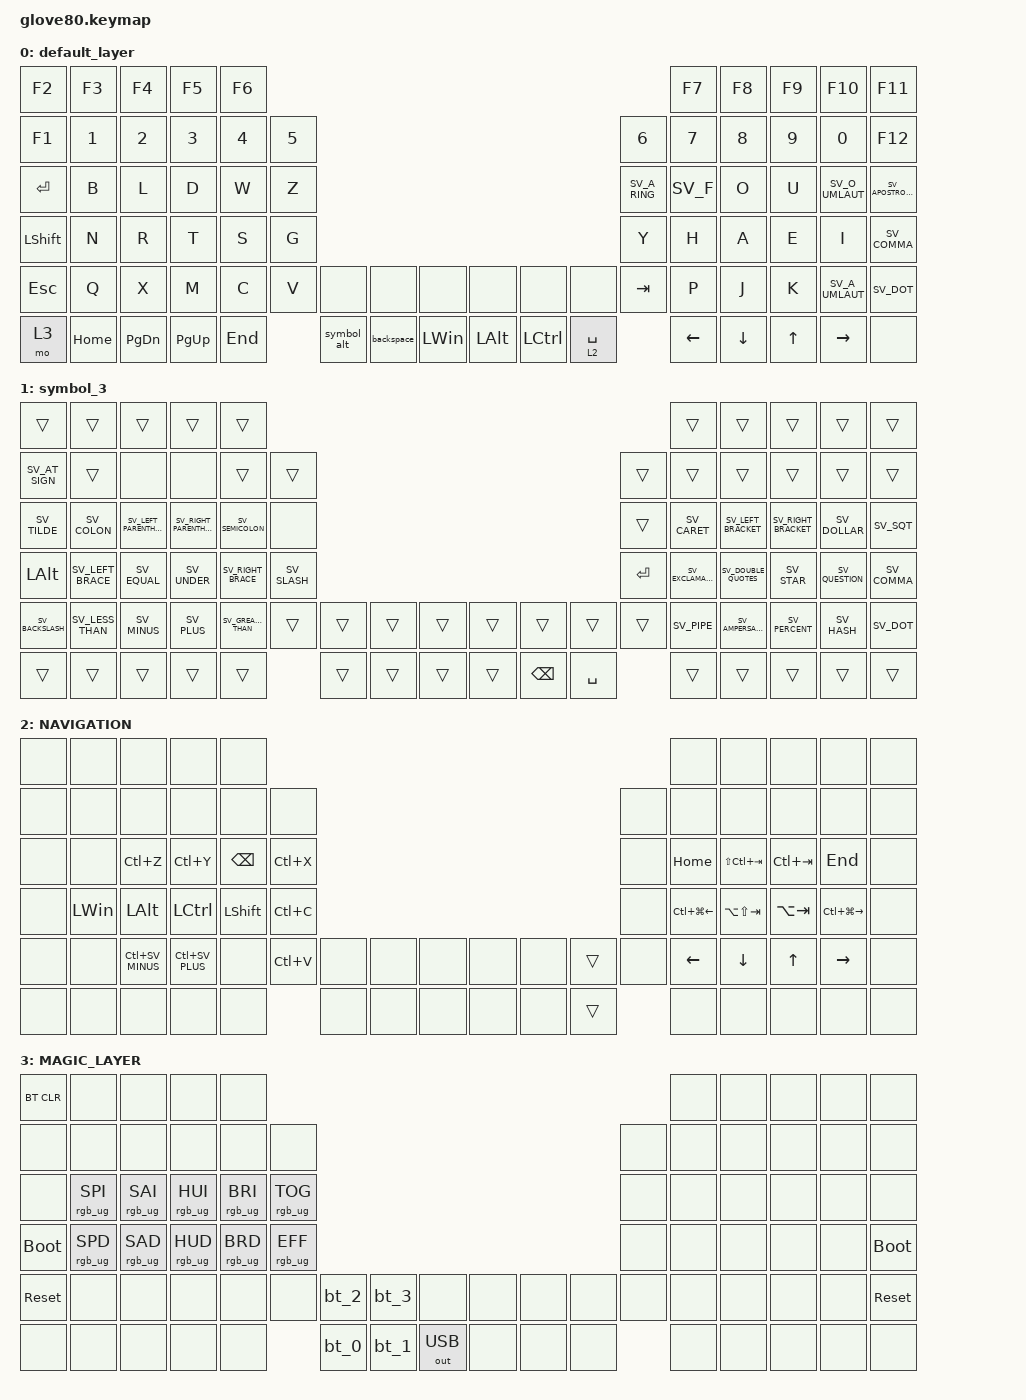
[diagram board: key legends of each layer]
/*
 * Copyright (c) 2020 The ZMK Contributors
 *
 * SPDX-License-Identifier: MIT
 */

#include "keys_sv.h"
#include <behaviors.dtsi>
#include <dt-bindings/zmk/bt.h>
#include <dt-bindings/zmk/keys.h>
#include <dt-bindings/zmk/outputs.h>
#include <dt-bindings/zmk/rgb.h>

// layers

#define DEFAULT 0
#define LOWER 1
#define MAGIC 2

&lt {
    tapping-term-ms = <280>;
    quick-tap-ms = <175>;
    require-prior-idle-ms = <150>;
    flavor = "balanced";
    hold-trigger-on-release;
};

/ {
    behaviors {
        // For the "layer" key, it'd nice to be able to use it as either a shift or a toggle.
        // Configure it as a tap dance, so the first tap (or hold) is a &mo and the second tap is a &to

        layer_td: tap_dance_0 {
            compatible = "zmk,behavior-tap-dance";
            #binding-cells = <0>;
            tapping-term-ms = <200>;
            bindings = <&mo 0>, <&to 0>;
        };

        ctrl_backspace: ctrl_backspace {
            compatible = "zmk,behavior-mod-morph";
            label = "CTRL_BACKSPACE";
            bindings = <&kp LC(BACKSPACE)>, <&kp BACKSPACE>;

            #binding-cells = <0>;
            mods = <(MOD_LSFT)>;
        };

        dot_sentence_end: dot_sentence_end {
            compatible = "zmk,behavior-mod-morph";
            label = "DOT_SENTENCE_END";
            bindings = <&kp SV_DOT>, <&sentence_end>;

            #binding-cells = <0>;
            mods = <(MOD_LSFT|MOD_LCTL)>;
        };

        backspace_nav: backspace_nav {
            compatible = "zmk,behavior-hold-tap";
            label = "BACKSPACE_NAV";
            bindings = <&mo>, <&ctrl_backspace>;

            #binding-cells = <2>;
            tapping-term-ms = <280>;
            hold-trigger-key-positions = <69>;
            flavor = "balanced";
            quick-tap-ms = <175>;
            require-prior-idle-ms = <150>;
            hold-trigger-on-release;
        };

        next_window_K: next_window_K {
            compatible = "zmk,behavior-mod-morph";
            label = "NEXT_WINDOW_K";
            bindings = <&kp K>, <&alt_tab>;

            #binding-cells = <0>;
            mods = <(MOD_LGUI)>;
        };

        previous_window_J: previous_window_J {
            compatible = "zmk,behavior-mod-morph";
            label = "PREVIOUS_WINDOW_J";
            bindings = <&kp J>, <&shift_alt_tab>;

            #binding-cells = <0>;
            mods = <(MOD_LGUI)>;
        };

        underscore_minus: underscore_minus {
            compatible = "zmk,behavior-mod-morph";
            label = "UNDERSCORE_MINUS";
            bindings = <&kp SV_UNDERSCORE>, <&kp SV_MINUS>;

            #binding-cells = <0>;
            mods = <(MOD_LSFT)>;
        };

        parenthesis_previous_tab: parenthesis_previous_tab {
            compatible = "zmk,behavior-mod-morph";
            label = "PARENTHESIS_PREVIOUS_TAB";
            bindings = <&kp LPAR>, <&previous_tab>;

            #binding-cells = <0>;
            mods = <(MOD_LSFT)>;
        };

        parenthesis_next_tab: parenthesis_next_tab {
            compatible = "zmk,behavior-mod-morph";
            label = "PARENTHESIS_NEXT_TAB";
            bindings = <&kp RPAR>, <&next_tab>;

            #binding-cells = <0>;
            mods = <(MOD_LSFT)>;
        };

        comma_exclemation: comma_exclemation {
            compatible = "zmk,behavior-mod-morph";
            label = "COMMA_EXCLEMATION";
            bindings = <&kp SV_COMMA>, <&kp SV_EXCLAMATION>;

            #binding-cells = <0>;
            mods = <(MOD_LSFT)>;
        };

        previous_window_bracket: previous_window_bracket {
            compatible = "zmk,behavior-mod-morph";
            label = "PREVIOUS_WINDOW_BRACKET";
            bindings = <&kp LEFT_BRACE>, <&previous_window_J>;

            #binding-cells = <0>;
            mods = <(MOD_LSFT)>;
        };

        left_paren_bracket: left_paren_bracket {
            compatible = "zmk,behavior-mod-morph";
            label = "LEFT_PAREN_BRACKET";
            bindings = <&kp SV_LPAR>, <&kp SV_LBKT>;

            #binding-cells = <0>;
            mods = <(MOD_LCTL|MOD_LSFT)>;
        };

        right_paren_bracket: right_paren_bracket {
            compatible = "zmk,behavior-mod-morph";
            label = "RIGHT_PAREN_BRACKET";
            bindings = <&kp SV_RIGHT_PARENTHESIS>, <&kp SV_RIGHT_BRACKET>;

            #binding-cells = <0>;
            mods = <(MOD_LSFT|MOD_LCTL)>;
        };

        left_brace_croco: left_brace_croco {
            compatible = "zmk,behavior-mod-morph";
            label = "LEFT_BRACE_CROCO";
            bindings = <&kp SV_LEFT_BRACE>, <&kp SV_LT>;

            #binding-cells = <0>;
            mods = <(MOD_LSFT|MOD_LCTL)>;
        };

        right_brace_croco: right_brace_croco {
            compatible = "zmk,behavior-mod-morph";
            label = "RIGHT_BRACE_CROCO";
            bindings = <&kp SV_RIGHT_BRACE>, <&kp SV_GT>;

            #binding-cells = <0>;
            mods = <(MOD_LSFT|MOD_LCTL)>;
        };

        equal_plus: equal_plus {
            compatible = "zmk,behavior-mod-morph";
            label = "EQUAL_PLUS";
            bindings = <&kp SV_EQUAL>, <&kp SV_PLUS>;

            #binding-cells = <0>;
            mods = <(MOD_LSFT)>;
        };

        semi_comma: semi_comma {
            compatible = "zmk,behavior-mod-morph";
            label = "SEMI_COMMA";
            bindings = <&kp SV_SEMICOLON>, <&kp SV_COLON>;

            #binding-cells = <0>;
            mods = <(MOD_LSFT)>;
        };

        appostroph_quote: appostroph_quote {
            compatible = "zmk,behavior-mod-morph";
            label = "APPOSTROPH_QUOTE";
            bindings = <&kp SV_SQT>, <&kp SV_DOUBLE_QUOTES>;

            #binding-cells = <0>;
            mods = <(MOD_LSFT)>;
        };

        slash_question: slash_question {
            compatible = "zmk,behavior-mod-morph";
            label = "SLASH_QUESTION";
            bindings = <&kp SV_SLASH>, <&kp SV_QUESTION>;

            #binding-cells = <0>;
            mods = <(MOD_LSFT)>;
        };

        backspace_shift: backspace_shift {
            compatible = "zmk,behavior-hold-tap";
            label = "BACKSPACE_SHIFT";
            bindings = <&kp>, <&backspace>;

            #binding-cells = <2>;
            tapping-term-ms = <280>;
            quick-tap-ms = <175>;
            require-prior-idle-ms = <150>;
            flavor = "balanced";
            hold-trigger-on-release;
        };

        backspace: backspace {
            compatible = "zmk,behavior-mod-morph";
            label = "BACKSPACE";
            bindings = <&kp BACKSPACE>, <&kp LC(BACKSPACE)>;

            #binding-cells = <0>;
            mods = <(MOD_LSFT)>;
        };

        symbol_alt: symbol_alt {
            compatible = "zmk,behavior-mod-morph";
            label = "SYMBOL_ALT";
            bindings = <&mo 1>, <&kp LEFT_ALT>;

            #binding-cells = <0>;
            mods = <(MOD_LSFT)>;
        };
    };

    macros {
        bt_0: bt_profile_macro_0 {
            compatible = "zmk,behavior-macro";
            #binding-cells = <0>;
            bindings = <&out OUT_BLE &bt BT_SEL 0>;
        };

        bt_1: bt_profile_macro_1 {
            compatible = "zmk,behavior-macro";
            #binding-cells = <0>;
            bindings = <&out OUT_BLE &bt BT_SEL 1>;
        };

        bt_2: bt_profile_macro_2 {
            compatible = "zmk,behavior-macro";
            #binding-cells = <0>;
            bindings = <&out OUT_BLE &bt BT_SEL 2>;
        };

        bt_3: bt_profile_macro_3 {
            compatible = "zmk,behavior-macro";
            #binding-cells = <0>;
            bindings = <&out OUT_BLE &bt BT_SEL 3>;
        };

        sentence_end: sentence_end {
            compatible = "zmk,behavior-macro";
            #binding-cells = <0>;
            bindings = <&kp DOT &kp SPACE &sk LEFT_SHIFT>;
            label = "SENTENCE_END";
        };

        alt_tab: alt_tab {
            compatible = "zmk,behavior-macro";
            #binding-cells = <0>;
            bindings = <&kp LEFT_ALT &kp TAB>;
            label = "ALT_TAB";
        };

        shift_alt_tab: shift_alt_tab {
            compatible = "zmk,behavior-macro";
            #binding-cells = <0>;
            bindings = <&kp LEFT_SHIFT &kp LEFT_ALT &kp TAB>;
            label = "SHIFT_ALT_TAB";
        };

        copy: copy {
            compatible = "zmk,behavior-macro";
            #binding-cells = <0>;
            bindings = <&kp LCTRL &kp C>;
            label = "COPY";
        };

        cut: cut {
            compatible = "zmk,behavior-macro";
            #binding-cells = <0>;
            bindings = <&kp LCTRL &kp X>;
            label = "CUT";
        };

        paste: paste {
            compatible = "zmk,behavior-macro";
            #binding-cells = <0>;
            bindings = <&kp LCTRL &kp V>;
            label = "PASTE";
        };

        undo: undo {
            compatible = "zmk,behavior-macro";
            #binding-cells = <0>;
            bindings = <&kp LCTRL &kp Z>;
            label = "UNDO";
        };

        redo: redo {
            compatible = "zmk,behavior-macro";
            #binding-cells = <0>;
            bindings = <&kp LCTRL &kp Y>;
            label = "REDO";
        };

        next_workspace: next_workspace {
            compatible = "zmk,behavior-macro";
            #binding-cells = <0>;
            bindings = <&kp LCTRL &kp LEFT_WIN &kp RIGHT>;
            label = "NEXT_WORKSPACE";
        };

        previous_workspace: previous_workspace {
            compatible = "zmk,behavior-macro";
            #binding-cells = <0>;
            bindings = <&kp LCTRL &kp LEFT_WIN &kp LEFT_ARROW>;
            label = "PREVIOUS_WORKSPACE";
        };

        next_tab: next_tab {
            compatible = "zmk,behavior-macro";
            #binding-cells = <0>;
            bindings = <&kp LCTRL &kp TAB>;
            label = "NEXT_TAB";
        };

        previous_tab: previous_tab {
            compatible = "zmk,behavior-macro";
            #binding-cells = <0>;
            bindings = <&kp LCTRL &kp LEFT_SHIFT &kp TAB>;
            label = "PREVIOUS_TAB";
        };
    };

    keymap {
        compatible = "zmk,keymap";

        default_layer {
            // ---------------------------------------------------------------------------------------------------------------------------------
            // |  F1   |  F2 |  F3 |  F4  |  F5  |                                                               |  F6   |  F7   |  F8  |   F9  |  F10 |
            // |  =    |  1  |  2  |  3   |  4   |  5   |                                                 |  6   |   7   |   8   |  9   |   0   |   -  |
            // |  TAB  |  Q  |  W  |  E   |  R   |  T   |                                                 |  Y   |   U   |   I   |  O   |   P   |   \  |
            // |  ESC  |  A  |  S  |  D   |  F   |  G   |                                                 |  H   |   J   |   K   |  L   |   ;   |   '  |
            // |   `   |  Z  |  X  |  C   |  V   |  B   | LSHFT | LCTRL | LOWER | | LGUI  | RCTRL | RSHFT |  N   |   M   |   ,   |  .   |   /   | PGUP |
            // | MAGIC | HOME| END | LEFT | RIGHT|      | BSPC  | DEL   | LALT  | | RALT  | RET   | SPACE |      |  UP   | DOWN  |  [   |   ]   | PGDN |

            bindings = <
&kp F2          &kp F3        &kp F4         &kp F5       &kp F6                                                                                                         &kp F7          &kp F8    &kp F9  &kp F10          &kp F11
&kp F1          &kp NUMBER_1  &kp N2         &kp N3       &kp N4   &kp N5                                                                                 &kp N6         &kp N7          &kp N8    &kp N9  &kp N0           &kp F12
&kp ENTER       &kp B         &kp L          &kp D        &kp W    &kp Z                                                                                  &kp SV_A_RING  &kp SV_F        &kp O     &kp U   &kp SV_O_UMLAUT  &kp SV_APOSTROPHE
&kp LEFT_SHIFT  &kp N         &kp R          &kp T        &kp S    &kp G                                                                                  &kp Y          &kp H           &kp A     &kp E   &kp I            &kp SV_COMMA
&kp ESC         &kp Q         &kp X          &kp M        &kp C    &kp V   &none        &none       &none           &none         &none      &none        &kp TAB        &kp P           &kp J     &kp K   &kp SV_A_UMLAUT  &kp SV_DOT
&mo 3           &kp HOME      &kp PAGE_DOWN  &kp PAGE_UP  &kp END          &symbol_alt  &backspace  &kp LEFT_WIN    &kp LEFT_ALT  &kp LCTRL  &lt 2 SPACE                 &kp LEFT_ARROW  &kp DOWN  &kp UP  &kp RIGHT        &none
            >;
        };

        symbol_3 {
            bindings = <
&trans            &trans             &trans                   &trans                    &trans                                                                                                    &trans              &trans                &trans                &trans           &trans
&kp SV_AT_SIGN    &trans             &none                    &none                     &trans               &trans                                                                    &trans     &trans              &trans                &trans                &trans           &trans
&kp SV_TILDE      &kp SV_COLON       &kp SV_LEFT_PARENTHESIS  &kp SV_RIGHT_PARENTHESIS  &kp SV_SEMICOLON     &none                                                                     &trans     &kp SV_CARET        &kp SV_LEFT_BRACKET   &kp SV_RIGHT_BRACKET  &kp SV_DOLLAR    &kp SV_SQT
&kp LEFT_ALT      &kp SV_LEFT_BRACE  &kp SV_EQUAL             &kp SV_UNDER              &kp SV_RIGHT_BRACE   &kp SV_SLASH                                                              &kp ENTER  &kp SV_EXCLAMATION  &kp SV_DOUBLE_QUOTES  &kp SV_STAR           &kp SV_QUESTION  &kp SV_COMMA
&kp SV_BACKSLASH  &kp SV_LESS_THAN   &kp SV_MINUS             &kp SV_PLUS               &kp SV_GREATER_THAN  &trans        &trans  &trans  &trans    &trans  &trans         &trans     &trans     &kp SV_PIPE         &kp SV_AMPERSAND      &kp SV_PERCENT        &kp SV_HASH      &kp SV_DOT
&trans            &trans             &trans                   &trans                    &trans                             &trans  &trans  &trans    &trans  &kp BACKSPACE  &kp SPACE             &trans              &trans                &trans                &trans           &trans
            >;
        };

        NAVIGATION {
            bindings = <
&none  &none         &none             &none            &none                                                                          &none                   &none            &none         &none              &none
&none  &none         &none             &none            &none           &none                                                   &none  &none                   &none            &none         &none              &none
&none  &none         &kp LC(Z)         &kp LC(Y)        &kp BACKSPACE   &kp LC(X)                                               &none  &kp HOME                &kp LS(LC(TAB))  &kp LC(TAB)   &kp END            &none
&none  &kp LEFT_WIN  &kp LEFT_ALT      &kp LCTRL        &kp LEFT_SHIFT  &kp LC(C)                                               &none  &kp LC(LG(LEFT_ARROW))  &kp LA(LS(TAB))  &kp LA(TAB)   &kp LC(LG(RIGHT))  &none
&none  &none         &kp LC(SV_MINUS)  &kp LC(SV_PLUS)  &none           &kp LC(V)  &none  &none  &none    &none  &none  &trans  &none  &kp LEFT_ARROW          &kp DOWN         &kp UP_ARROW  &kp RIGHT          &none
&none  &none         &none             &none            &none                      &none  &none  &none    &none  &none  &trans         &none                   &none            &none         &none              &none
            >;
        };

        MAGIC_LAYER {
            bindings = <
&bt BT_CLR   &none            &none            &none            &none                                                                                       &none  &none  &none  &none  &none
&none        &none            &none            &none            &none            &none                                                               &none  &none  &none  &none  &none  &none
&none        &rgb_ug RGB_SPI  &rgb_ug RGB_SAI  &rgb_ug RGB_HUI  &rgb_ug RGB_BRI  &rgb_ug RGB_TOG                                                     &none  &none  &none  &none  &none  &none
&bootloader  &rgb_ug RGB_SPD  &rgb_ug RGB_SAD  &rgb_ug RGB_HUD  &rgb_ug RGB_BRD  &rgb_ug RGB_EFF                                                     &none  &none  &none  &none  &none  &bootloader
&sys_reset   &none            &none            &none            &none            &none            &bt_2  &bt_3  &none           &none  &none  &none  &none  &none  &none  &none  &none  &sys_reset
&none        &none            &none            &none            &none                             &bt_0  &bt_1  &out OUT_USB    &none  &none  &none         &none  &none  &none  &none  &none
            >;
        };
    };
};
